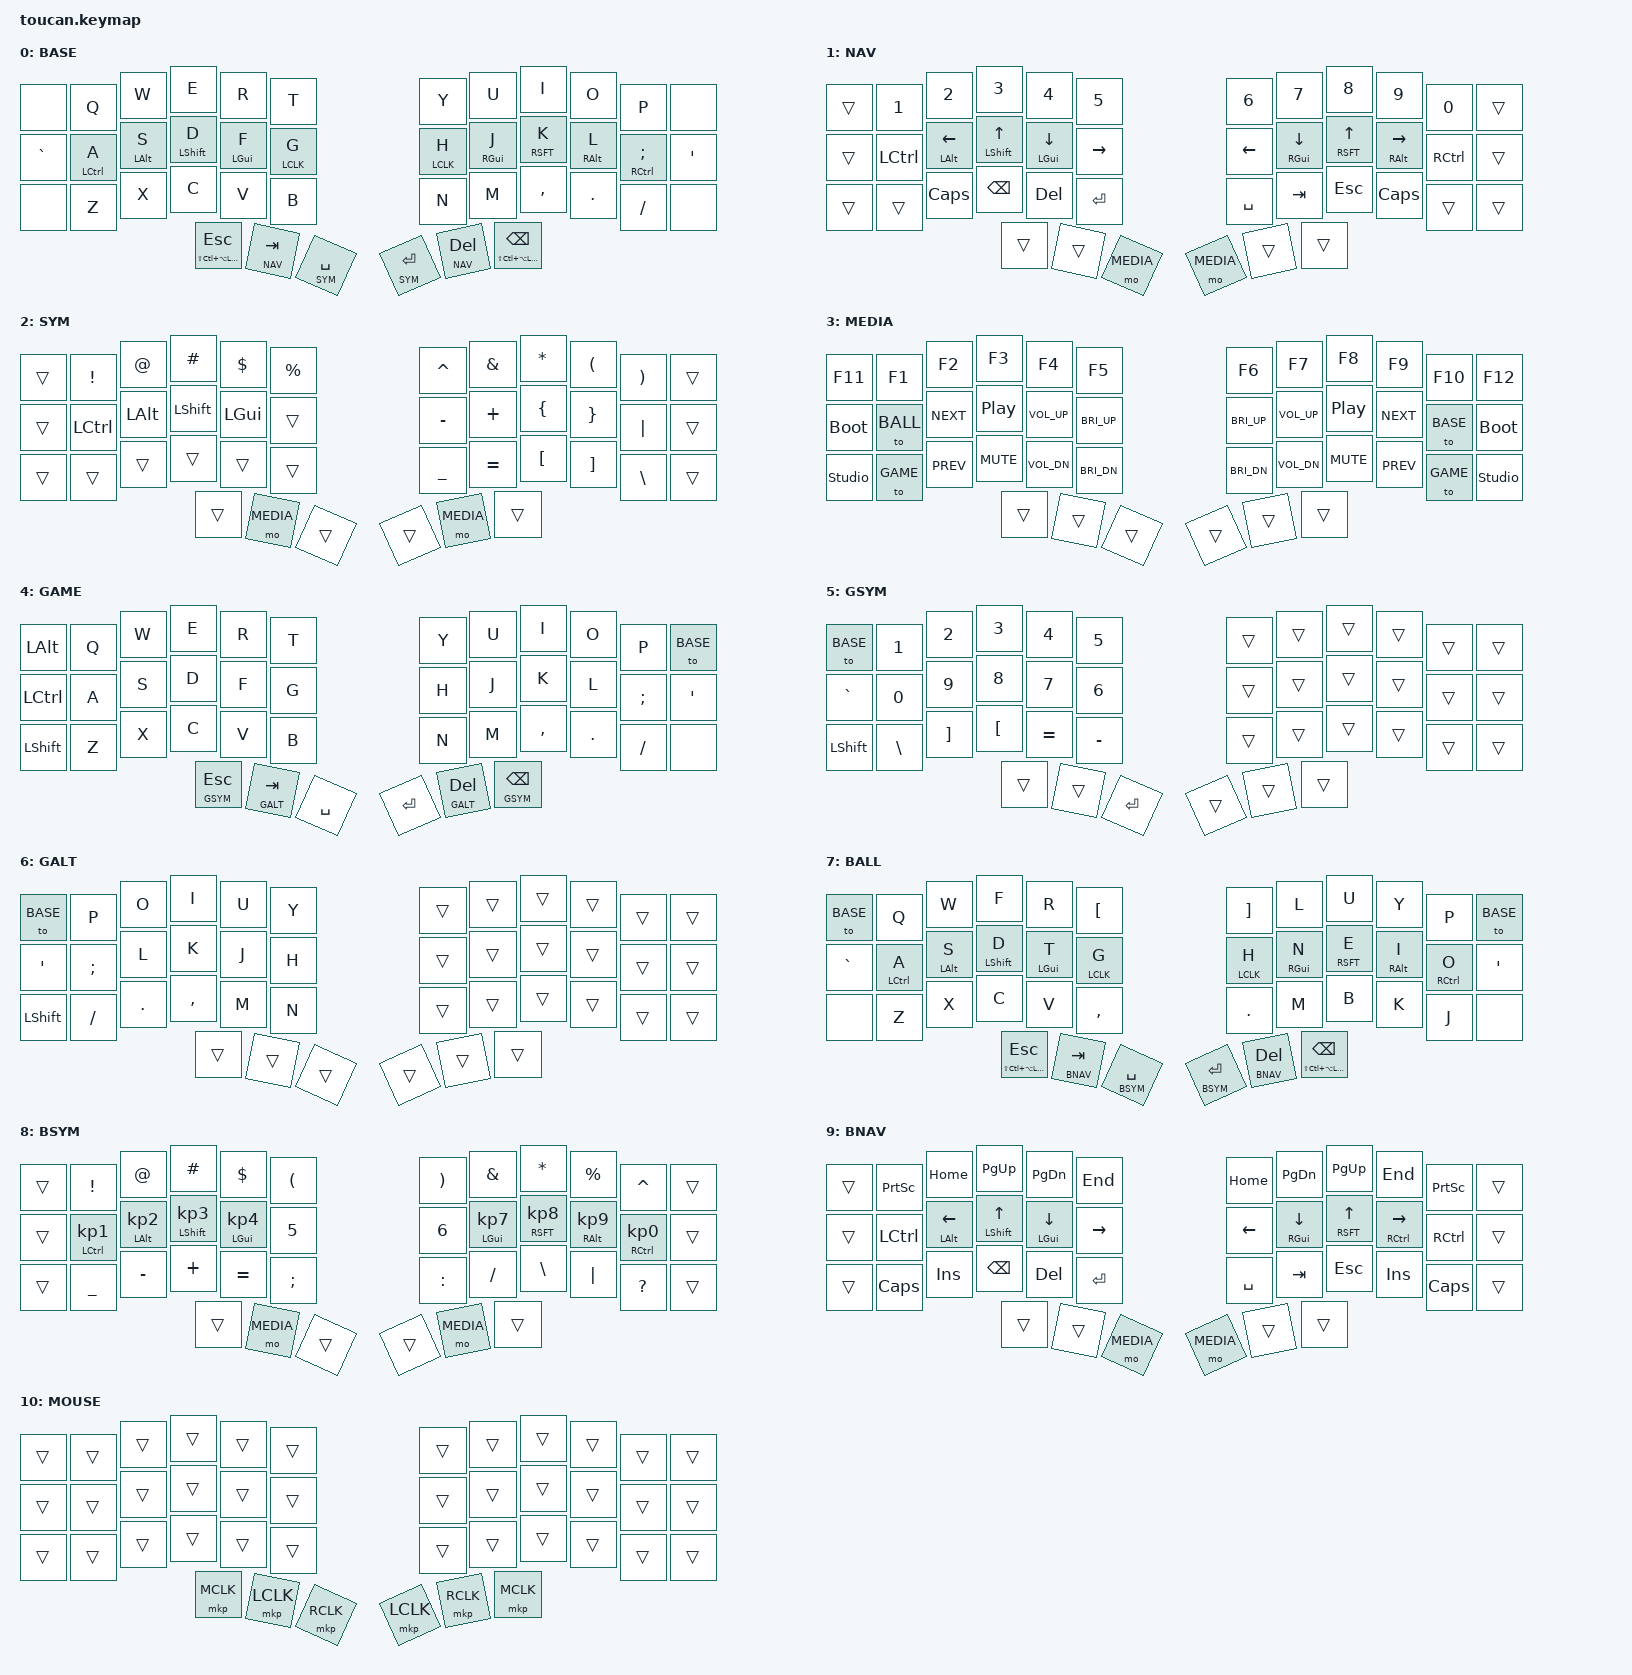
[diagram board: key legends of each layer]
#include <behaviors.dtsi>
#include <dt-bindings/zmk/keys.h>
#include <dt-bindings/zmk/bt.h>
#include <dt-bindings/zmk/outputs.h>
#include <dt-bindings/zmk/pointing.h>

#define BASE       0    // Base QWERTY layer
#define NAV        1    // Navigation & numbers
#define SYM        2    // Symbols
#define MEDIA      3    // Media, F-keys, BT & Layer Select
#define GAME       4    // Gaming base
#define GSYM       5    // Numbers and symbols (right empty)
#define GALT       6    // Mirrored right board (right empty)
#define BALL       7    // Ballena base
#define BSYM       8    // Ballena symbols & keypad
#define BNAV       9    // Ballena navigation & editing

#define MOUSE      10   // Hardware capacitive trackpad auto-layer

#define HYP LS(LC(LA(LGUI)))  // Hyper modifier shortcut

// Override default &mt behavior to match our custom tap-hold timings
&mt {
    flavor = "tap-preferred";
    tapping-term-ms = <140>;
    quick-tap-ms = <250>;
};

// Override default &lt behavior as well
&lt {
    flavor = "tap-preferred";
    tapping-term-ms = <140>;
    quick-tap-ms = <250>;
};

/ {

    behaviors {

        // Mouse-Tap (Hold for Mouse Action, Tap for Keystroke)
        mkt: mouse_key_tap {
            compatible = "zmk,behavior-hold-tap";
            #binding-cells = <2>;
            flavor = "tap-preferred";
            tapping-term-ms = <140>;
            quick-tap-ms = <250>;
            bindings = <&mkp>, <&kp>;
        };
    };

    keymap {
        compatible = "zmk,keymap";

        layer_base {
            display-name = "BASE";
            bindings = <
                &none     &kp Q        &kp W        &kp E         &kp R        &kp T                            &kp Y        &kp U        &kp I       &kp O       &kp P           &none
                &kp GRAVE &mt LCTRL A  &mt LALT S   &mt LSHFT D   &mt LGUI F   &mkt LCLK G                      &mkt LCLK H  &mt RGUI J   &mt RSFT K  &mt RALT L  &mt RCTRL SEMI  &kp SQT
                &none     &kp Z        &kp X        &kp C         &kp V        &kp B                            &kp N        &kp M        &kp COMMA   &kp DOT     &kp FSLH        &none
                                        &mt HYP ESC &lt NAV TAB   &lt SYM SPACE                                 &lt SYM RET  &lt NAV DEL  &mt HYP BSPC
            >;
        };

        layer_nav {
            display-name = "NAV";
            bindings = <
                &trans &kp N1    &kp N2        &kp N3       &kp N4        &kp N5                                &kp N6    &kp N7        &kp N8      &kp N9          &kp N0    &trans
                &trans &kp LCTRL &mt LALT LEFT &mt LSHFT UP &mt LGUI DOWN &kp RIGHT                             &kp LEFT  &mt RGUI DOWN &mt RSFT UP &mt RALT RIGHT  &kp RCTRL &trans
                &trans &trans    &kp CAPS      &kp BSPC     &kp DEL       &kp RET                               &kp SPACE &kp TAB       &kp ESC     &kp CAPS        &trans    &trans
                                               &trans       &trans        &mo MEDIA                             &mo MEDIA &trans        &trans
            >;
        };

        layer_sym {
            display-name = "SYM";
            bindings = <
                &trans &kp EXCL  &kp AT   &kp HASH  &kp DLLR  &kp PRCNT                                         &kp CARET &kp AMPS  &kp ASTRK &kp LPAR &kp RPAR &trans
                &trans &kp LCTRL &kp LALT &kp LSHFT &kp LGUI  &trans                                            &kp MINUS &kp PLUS  &kp LBRC  &kp RBRC &kp PIPE &trans
                &trans &trans    &trans   &trans    &trans    &trans                                            &kp UNDER &kp EQUAL &kp LBKT  &kp RBKT &kp BSLH &trans
                                          &trans    &mo MEDIA &trans                                            &trans    &mo MEDIA &trans
            >;
        };

        layer_media {
            display-name = "MEDIA";
            bindings = <
                &kp F11        &kp F1       &kp F2       &kp F3       &kp F4       &kp F5                       &kp F6       &kp F7       &kp F8       &kp F9       &kp F10     &kp F12
                &bootloader    &to BALL     &kp C_NEXT   &kp C_PP     &kp C_VOL_UP &kp C_BRI_UP                 &kp C_BRI_UP &kp C_VOL_UP &kp C_PP     &kp C_NEXT   &to BASE    &bootloader
                &studio_unlock &to GAME     &kp C_PREV   &kp C_MUTE   &kp C_VOL_DN &kp C_BRI_DN                 &kp C_BRI_DN &kp C_VOL_DN &kp C_MUTE   &kp C_PREV   &to GAME    &studio_unlock
                                                         &trans       &trans       &trans                       &trans       &trans       &trans
            >;
        };

        layer_game {
            display-name = "GAME";
            bindings = <
                &kp LALT  &kp Q &kp W &kp E         &kp R         &kp T                                         &kp Y     &kp U         &kp I           &kp O   &kp P    &to BASE
                &kp LCTRL &kp A &kp S &kp D         &kp F         &kp G                                         &kp H     &kp J         &kp K           &kp L   &kp SEMI &kp SQT
                &kp LSHFT &kp Z &kp X &kp C         &kp V         &kp B                                         &kp N     &kp M         &kp COMMA       &kp DOT &kp FSLH &none
                                      &lt GSYM ESC  &lt GALT TAB  &kp SPACE                                     &kp RET   &lt GALT DEL  &lt GSYM BSPC
            >;
        };

        layer_gsym {
            display-name = "GSYM";
            bindings = <
                &to BASE  &kp N1   &kp N2   &kp N3   &kp N4    &kp N5                                           &trans &trans &trans &trans &trans &trans
                &kp GRAVE &kp N0   &kp N9   &kp N8   &kp N7    &kp N6                                           &trans &trans &trans &trans &trans &trans
                &kp LSHFT &kp BSLH &kp RBKT &kp LBKT &kp EQUAL &kp MINUS                                        &trans &trans &trans &trans &trans &trans
                                            &trans   &trans    &kp RET                                          &trans &trans &trans
            >;
        };

        layer_galt {
            display-name = "GALT";
            bindings = <
                &to BASE  &kp P    &kp O   &kp I     &kp U &kp Y                                                &trans &trans &trans &trans &trans &trans
                &kp SQT   &kp SEMI &kp L   &kp K     &kp J &kp H                                                &trans &trans &trans &trans &trans &trans
                &kp LSHFT &kp FSLH &kp DOT &kp COMMA &kp M &kp N                                                &trans &trans &trans &trans &trans &trans
                                           &trans    &trans &trans                                              &trans &trans &trans
            >;
        };

        layer_ball {
            display-name = "BALL";
            bindings = <
                &to BASE  &kp Q         &kp W       &kp F        &kp R         &kp LBKT                         &kp RBKT      &kp L         &kp U                       &kp Y       &kp P       &to BASE
                &kp GRAVE &mt LCTRL A   &mt LALT S  &mt LSHFT D  &mt LGUI T    &mkt LCLK G                      &mkt LCLK H   &mt RGUI N    &mt RSFT E                  &mt RALT I  &mt RCTRL O &kp SQT
                &none     &kp Z         &kp X       &kp C        &kp V         &kp COMMA                        &kp DOT       &kp M         &kp B                       &kp K       &kp J       &none
                                                    &mt HYP ESC  &lt BNAV TAB &lt BSYM SPACE                    &lt BSYM RET  &lt BNAV DEL  &mt HYP BSPC
            >;
        };

        layer_bsym {
            display-name = "BSYM";
            bindings = <
                &trans &kp EXCL        &kp AT          &kp HASH        &kp DLLR        &kp LPAR                 &kp RPAR  &kp AMPS        &kp ASTRK       &kp PRCNT       &kp CARET       &trans
                &trans &mt LCTRL KP_N1 &mt LALT KP_N2  &mt LSHFT KP_N3 &mt LGUI KP_N4  &kp N5                   &kp N6    &mt LGUI KP_N7  &mt RSFT KP_N8  &mt RALT KP_N9  &mt RCTRL KP_N0 &trans
                &trans &kp UNDER       &kp MINUS       &kp PLUS        &kp EQUAL       &kp SEMI                 &kp COLON &kp FSLH        &kp BSLH        &kp PIPE        &kp QMARK       &trans
                                                       &trans          &mo MEDIA       &trans                   &trans    &mo MEDIA       &trans
            >;
        };

        layer_bnav {
            display-name = "BNAV";
            bindings = <
                &trans &kp PRINTSCREEN &kp HOME      &kp PG_UP    &kp PG_DN     &kp END                         &kp HOME  &kp PG_DN     &kp PG_UP    &kp END         &kp PRINTSCREEN &trans
                &trans &kp LCTRL       &mt LALT LEFT &mt LSHFT UP &mt LGUI DOWN &kp RIGHT                       &kp LEFT  &mt RGUI DOWN &mt RSFT UP  &mt RCTRL RIGHT &kp RCTRL       &trans
                &trans &kp CAPS        &kp INS       &kp BSPC     &kp DEL       &kp RET                         &kp SPACE &kp TAB       &kp ESC      &kp INS         &kp CAPS        &trans
                                                     &trans       &trans        &mo MEDIA                       &mo MEDIA &trans        &trans
            >;
        };

        layer_mouse {
            display-name = "MOUSE";
            bindings = <
                &trans &trans &trans &trans &trans &trans                   &trans &trans &trans &trans &trans &trans
                &trans &trans &trans &trans &trans &trans                   &trans &trans &trans &trans &trans &trans
                &trans &trans &trans &trans &trans &trans                   &trans &trans &trans &trans &trans &trans
                              &mkp MCLK &mkp LCLK &mkp RCLK                 &mkp LCLK &mkp RCLK &mkp MCLK
            >;
        };
    };
};

// Route the trackpad-touch behavior the MOUSE layer
&is_touching_processor {
    bindings = <&mo MOUSE>;
};
